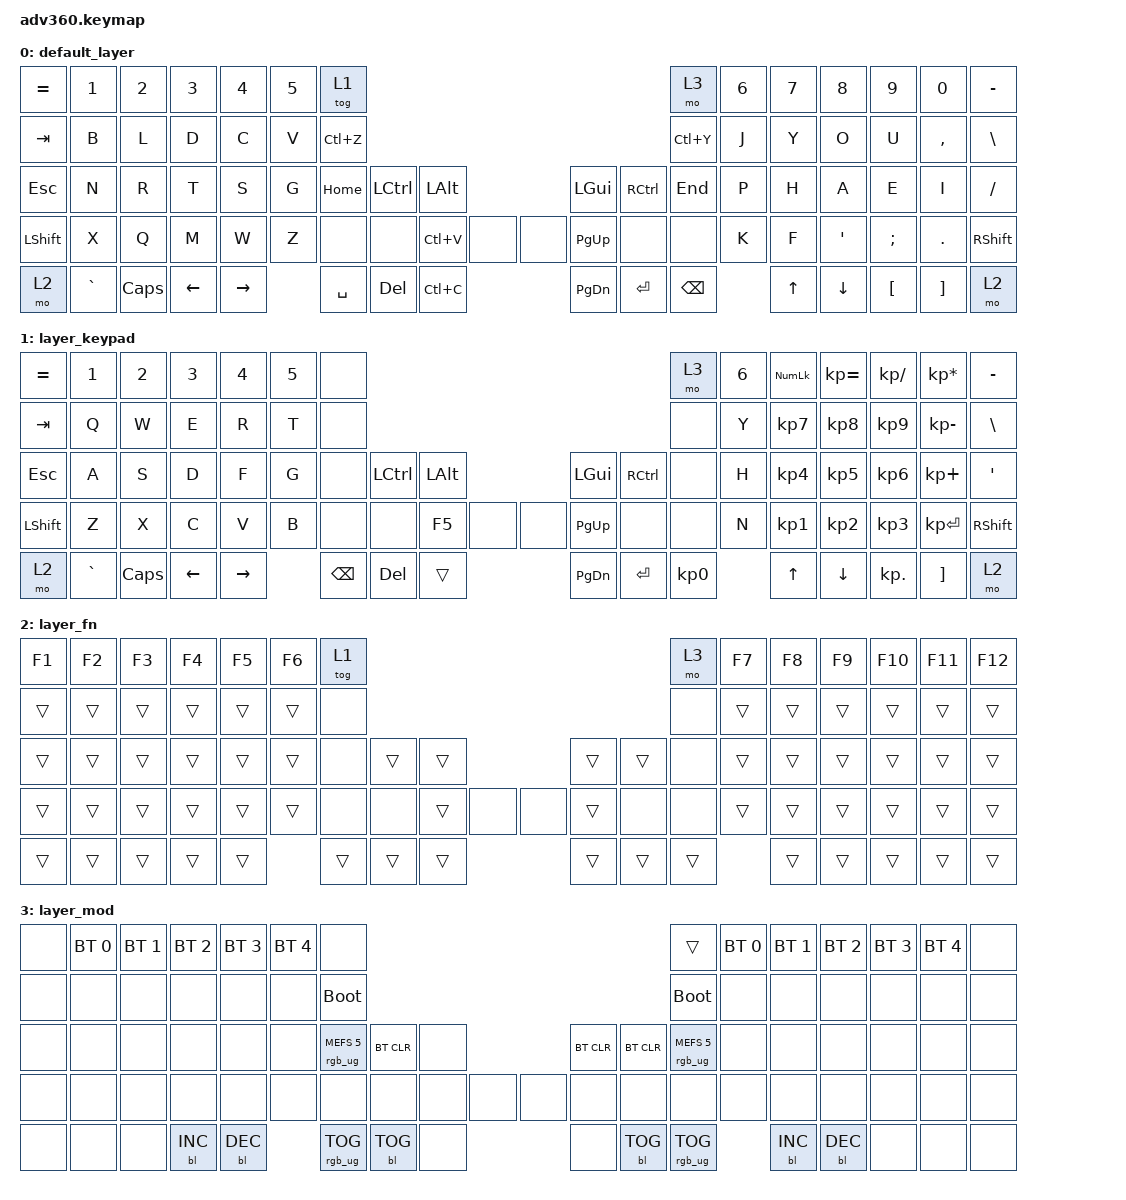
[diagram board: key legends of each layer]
/*
 * Copyright (c) 2020 The ZMK Contributors
 *
 * SPDX-License-Identifier: MIT
 */
/* THIS FILE WAS GENERATED!
 *
 * This file was generated automatically. You may or may not want to
 * edit it directly.
 */

#include <behaviors.dtsi>
#include <dt-bindings/zmk/backlight.h>
#include <dt-bindings/zmk/bt.h>
#include <dt-bindings/zmk/keys.h>
#include <dt-bindings/zmk/rgb.h>

/ {
    behaviors {
        #include "macros.dtsi"

        hm: homerow_mods {
            compatible = "zmk,behavior-hold-tap";
            label = "HOMEROW_MODS";
            #binding-cells = <2>;
            tapping-term-ms = <200>;
            quick_tap_ms = <175>;
            flavor = "tap-preferred";
            bindings = <&kp>, <&kp>;
        };
    };

    keymap {
        compatible = "zmk,keymap";

        default_layer {
            bindings = <
&kp EQUAL  &kp N1     &kp N2    &kp N3    &kp N4     &kp N5  &tog 1                                                               &mo 3          &kp N6  &kp N7  &kp N8    &kp N9         &kp N0      &kp MINUS
&kp TAB    &kp B      &kp L     &kp D     &kp C      &kp V   &kp LC(Z)                                                            &kp LC(Y)      &kp J   &kp Y   &kp O     &kp U          &kp COMMA   &kp BSLH
&kp ESC    &kp N      &kp R     &kp T     &kp S      &kp G   &kp HOME   &kp LCTRL  &kp LALT                 &kp LGUI   &kp RCTRL  &kp END        &kp P   &kp H   &kp A     &kp E          &kp I       &kp SLASH
&kp LSHFT  &kp X      &kp Q     &kp M     &kp W      &kp Z   &none      &none      &kp LC(V)  &none  &none  &kp PG_UP  &none      &none          &kp K   &kp F   &kp SQT   &kp SEMICOLON  &kp PERIOD  &kp RSHFT
&mo 2      &kp GRAVE  &kp CAPS  &kp LEFT  &kp RIGHT          &kp SPACE  &kp DEL    &kp LC(C)                &kp PG_DN  &kp ENTER  &kp BACKSPACE          &kp UP  &kp DOWN  &kp LBKT       &kp RBKT    &mo 2
            >;
        };

        layer_keypad {
            bindings = <
&kp EQUAL  &kp N1     &kp N2    &kp N3    &kp N4     &kp N5  &none                                                              &mo 3      &kp N6  &kp KP_NUM  &kp KP_EQUAL  &kp KP_DIVIDE  &kp KP_MULTIPLY  &kp MINUS
&kp TAB    &kp Q      &kp W     &kp E     &kp R      &kp T   &none                                                              &none      &kp Y   &kp KP_N7   &kp KP_N8     &kp KP_N9      &kp KP_MINUS     &kp BSLH
&kp ESC    &kp A      &kp S     &kp D     &kp F      &kp G   &none     &kp LCTRL  &kp LALT                &kp LGUI   &kp RCTRL  &none      &kp H   &kp KP_N4   &kp KP_N5     &kp KP_N6      &kp KP_PLUS      &kp SQT
&kp LSHFT  &kp Z      &kp X     &kp C     &kp V      &kp B   &none     &none      &kp F5    &none  &none  &kp PG_UP  &none      &none      &kp N   &kp KP_N1   &kp KP_N2     &kp KP_N3      &kp KP_ENTER     &kp RSHFT
&mo 2      &kp GRAVE  &kp CAPS  &kp LEFT  &kp RIGHT          &kp BSPC  &kp DEL    &trans                  &kp PG_DN  &kp ENTER  &kp KP_N0          &kp UP      &kp DOWN      &kp KP_DOT     &kp RBKT         &mo 2
            >;
        };

        layer_fn {
            bindings = <
&kp F1  &kp F2  &kp F3  &kp F4  &kp F5  &kp F6  &tog 1                                                &mo 3   &kp F7  &kp F8  &kp F9  &kp F10  &kp F11  &kp F12
&trans  &trans  &trans  &trans  &trans  &trans  &none                                                 &none   &trans  &trans  &trans  &trans   &trans   &trans
&trans  &trans  &trans  &trans  &trans  &trans  &none   &trans  &trans                &trans  &trans  &none   &trans  &trans  &trans  &trans   &trans   &trans
&trans  &trans  &trans  &trans  &trans  &trans  &none   &none   &trans  &none  &none  &trans  &none   &none   &trans  &trans  &trans  &trans   &trans   &trans
&trans  &trans  &trans  &trans  &trans          &trans  &trans  &trans                &trans  &trans  &trans          &trans  &trans  &trans   &trans   &trans
            >;
        };

        layer_mod {
            bindings = <
&none  &bt BT_SEL 0  &bt BT_SEL 1  &bt BT_SEL 2  &bt BT_SEL 3  &bt BT_SEL 4  &none                                                                            &trans                  &bt BT_SEL 0  &bt BT_SEL 1  &bt BT_SEL 2  &bt BT_SEL 3  &bt BT_SEL 4  &none
&none  &none         &none         &none         &none         &none         &bootloader                                                                      &bootloader             &none         &none         &none         &none         &none         &none
&none  &none         &none         &none         &none         &none         &rgb_ug RGB_MEFS_CMD 5  &bt BT_CLR  &none                &bt BT_CLR  &bt BT_CLR  &rgb_ug RGB_MEFS_CMD 5  &none         &none         &none         &none         &none         &none
&none  &none         &none         &none         &none         &none         &none                   &none       &none  &none  &none  &none       &none       &none                   &none         &none         &none         &none         &none         &none
&none  &none         &none         &bl BL_INC    &bl BL_DEC                  &rgb_ug RGB_TOG         &bl BL_TOG  &none                &none       &bl BL_TOG  &rgb_ug RGB_TOG                       &bl BL_INC    &bl BL_DEC    &none         &none         &none
            >;
        };
    };
};
